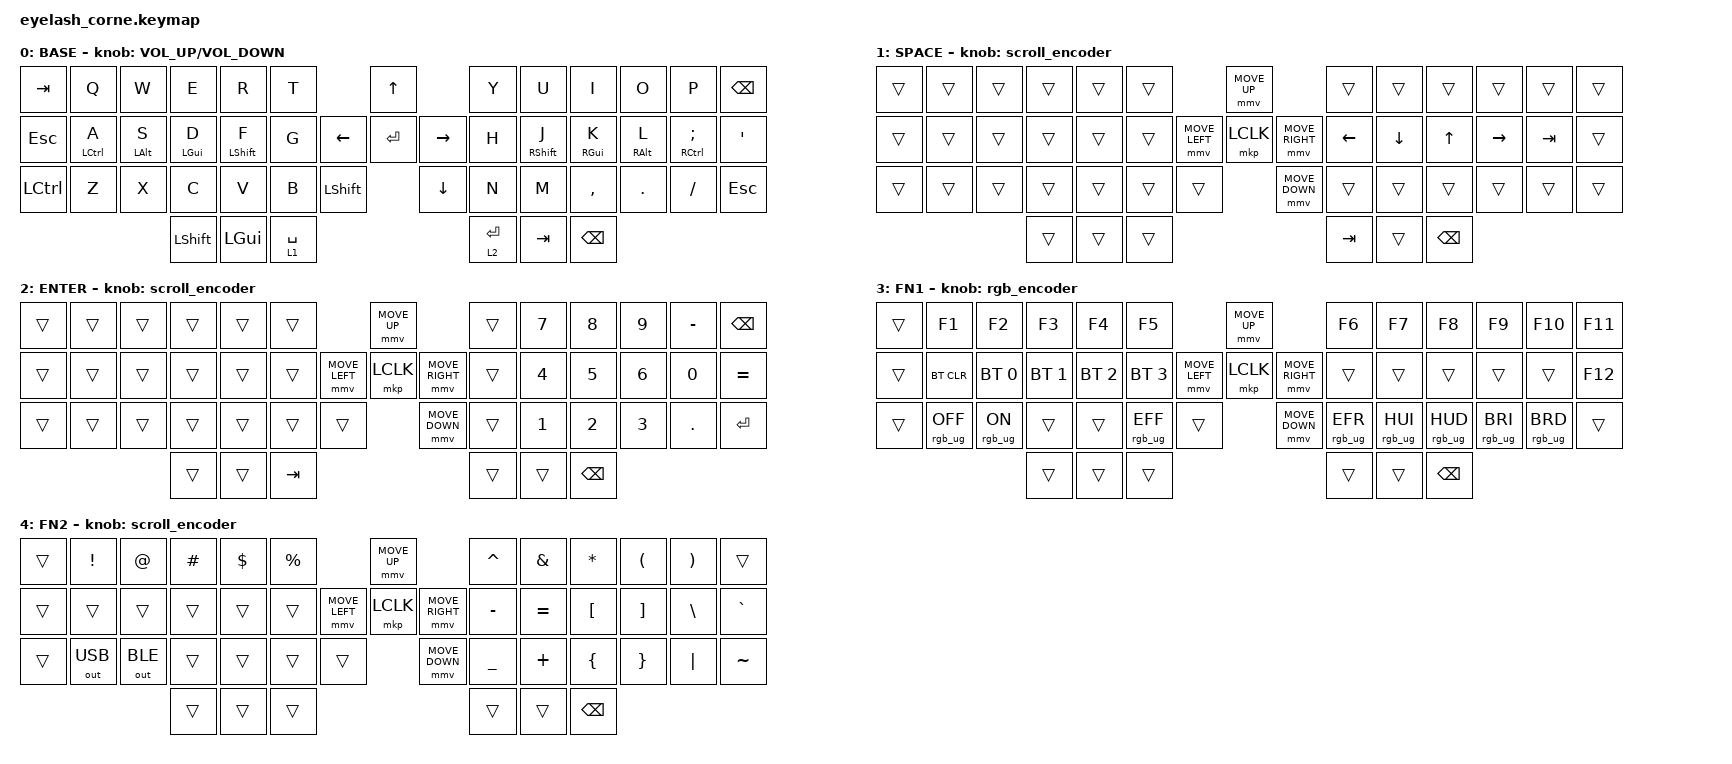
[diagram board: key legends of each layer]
#define ZMK_POINTING_DEFAULT_MOVE_VAL 1200  // 600
#define ZMK_POINTING_DEFAULT_SCRL_VAL 25   // 10

#include <input/processors.dtsi>
#include <zephyr/dt-bindings/input/input-event-codes.h>
#include <behaviors.dtsi>
#include <dt-bindings/zmk/bt.h>
#include <dt-bindings/zmk/ext_power.h>
#include <dt-bindings/zmk/keys.h>
#include <dt-bindings/zmk/outputs.h>
#include <dt-bindings/zmk/pointing.h>
#include <dt-bindings/zmk/rgb.h>

&mmv_input_listener { input-processors = <&zip_xy_scaler 2 1>; };

&msc_input_listener { input-processors = <&zip_scroll_scaler 2 1>; };

&msc {
    acceleration-exponent = <1>;      // 0
    time-to-max-speed-ms = <100>;       // 300
    delay-ms = <0>;                   // 0
};

&mmv {
    time-to-max-speed-ms = <500>;
    acceleration-exponent = <1>;
    trigger-period-ms = <16>;
};


/ {
    behaviors {
        // Eyelash Corne positions (48 total): row0=0-12, row1=13-27, row2=28-41, thumbs=42-47.
        // Left HRMs (a,s,d,f) only fire when paired with a RIGHT-hand finger key.
        // Right HRMs (j,k,l,;) only fire when paired with a LEFT-hand finger key.
        hrm_a: homerow_mod_left_ctrl_a {
            compatible = "zmk,behavior-hold-tap";
            #binding-cells = <2>;
            flavor = "balanced";
            tapping-term-ms = <220>;
            quick-tap-ms = <150>;
            require-prior-idle-ms = <100>;
            bindings = <&kp>, <&kp>;
            hold-trigger-key-positions = <7 8 9 10 11 12 22 23 24 25 26 27 36 37 38 39 40 41>;
            hold-trigger-on-release;
        };

        hrm_s: homerow_mod_left_alt_s {
            compatible = "zmk,behavior-hold-tap";
            #binding-cells = <2>;
            flavor = "balanced";
            tapping-term-ms = <210>;
            quick-tap-ms = <150>;
            require-prior-idle-ms = <100>;
            bindings = <&kp>, <&kp>;
            hold-trigger-key-positions = <7 8 9 10 11 12 22 23 24 25 26 27 36 37 38 39 40 41>;
            hold-trigger-on-release;
        };

        hrm_d: homerow_mod_left_gui_d {
            compatible = "zmk,behavior-hold-tap";
            #binding-cells = <2>;
            flavor = "balanced";
            tapping-term-ms = <200>;
            quick-tap-ms = <150>;
            require-prior-idle-ms = <100>;
            bindings = <&kp>, <&kp>;
            hold-trigger-key-positions = <7 8 9 10 11 12 22 23 24 25 26 27 36 37 38 39 40 41>;
            hold-trigger-on-release;
        };

        hrm_f: homerow_mod_left_shift_f {
            compatible = "zmk,behavior-hold-tap";
            #binding-cells = <2>;
            flavor = "balanced";
            tapping-term-ms = <180>;
            quick-tap-ms = <150>;
            require-prior-idle-ms = <100>;
            bindings = <&kp>, <&kp>;
            hold-trigger-key-positions = <7 8 9 10 11 12 22 23 24 25 26 27 36 37 38 39 40 41>;
            hold-trigger-on-release;
        };

        hrm_j: homerow_mod_right_shift_j {
            compatible = "zmk,behavior-hold-tap";
            #binding-cells = <2>;
            flavor = "balanced";
            tapping-term-ms = <180>;
            quick-tap-ms = <150>;
            require-prior-idle-ms = <100>;
            bindings = <&kp>, <&kp>;
            hold-trigger-key-positions = <0 1 2 3 4 5 13 14 15 16 17 18 28 29 30 31 32 33>;
            hold-trigger-on-release;
        };

        hrm_k: homerow_mod_right_gui_k {
            compatible = "zmk,behavior-hold-tap";
            #binding-cells = <2>;
            flavor = "balanced";
            tapping-term-ms = <200>;
            quick-tap-ms = <150>;
            require-prior-idle-ms = <100>;
            bindings = <&kp>, <&kp>;
            hold-trigger-key-positions = <0 1 2 3 4 5 13 14 15 16 17 18 28 29 30 31 32 33>;
            hold-trigger-on-release;
        };

        hrm_l: homerow_mod_right_alt_l {
            compatible = "zmk,behavior-hold-tap";
            #binding-cells = <2>;
            flavor = "balanced";
            tapping-term-ms = <210>;
            quick-tap-ms = <150>;
            require-prior-idle-ms = <100>;
            bindings = <&kp>, <&kp>;
            hold-trigger-key-positions = <0 1 2 3 4 5 13 14 15 16 17 18 28 29 30 31 32 33>;
            hold-trigger-on-release;
        };

        hrm_semi: homerow_mod_right_ctrl_semi {
            compatible = "zmk,behavior-hold-tap";
            #binding-cells = <2>;
            flavor = "balanced";
            tapping-term-ms = <220>;
            quick-tap-ms = <150>;
            require-prior-idle-ms = <100>;
            bindings = <&kp>, <&kp>;
            hold-trigger-key-positions = <0 1 2 3 4 5 13 14 15 16 17 18 28 29 30 31 32 33>;
            hold-trigger-on-release;
        };

        // Layer-tap behaviors for Space and Enter
        lt_spc: layer_tap_space {
            compatible = "zmk,behavior-hold-tap";
            #binding-cells = <2>;
            flavor = "balanced";
            tapping-term-ms = <150>;
            quick-tap-ms = <100>;
            bindings = <&mo>, <&kp>;
        };

        lt_ent: layer_tap_enter {
            compatible = "zmk,behavior-hold-tap";
            #binding-cells = <2>;
            flavor = "balanced";
            tapping-term-ms = <150>;
            quick-tap-ms = <100>;
            bindings = <&mo>, <&kp>;
        };
    };

    combos {
        compatible = "zmk,combos";
        combo_fn1 {
            timeout-ms = <50>;
            key-positions = <42 43>; // LSHFT + LGUI (left outer thumbs)
            bindings = <&mo 3>;
        };

        combo_fn2 {
            timeout-ms = <50>;
            key-positions = <46 47>; // TAB + BSPC (right outer thumbs)
            bindings = <&mo 4>;
        };
    };

    rgb_encoder: rgb_encoder {
        compatible = "zmk,behavior-sensor-rotate";
        #sensor-binding-cells = <0>;
        bindings = <&rgb_ug RGB_BRI>, <&rgb_ug RGB_BRD>;
    };

    scroll_encoder: scroll_encoder {
        compatible = "zmk,behavior-sensor-rotate";
        #sensor-binding-cells = <0>;
        bindings = <&msc SCRL_DOWN>, <&msc SCRL_UP>;
        tap-ms = <100>;
    };

    keymap {
        compatible = "zmk,keymap";

        default_layer {
            display-name = "BASE";
            bindings = <
&kp TAB    &kp Q  &kp W      &kp E     &kp R  &kp T                              &kp UP                &kp Y        &kp U  &kp I      &kp O    &kp P     &kp BSPC
&kp ESC    &hrm_a LCTRL A  &hrm_s LALT S  &hrm_d LGUI D  &hrm_f LSHFT F  &kp G   &kp LEFT  &kp ENTER  &kp RIGHT  &kp H   &hrm_j RSHFT J  &hrm_k RGUI K  &hrm_l RALT L  &hrm_semi RCTRL SEMI  &kp SQT
&kp LCTRL  &kp Z  &kp X      &kp C     &kp V  &kp B       &kp LSHFT              &kp DOWN              &kp N        &kp M  &kp COMMA  &kp DOT  &kp FSLH  &kp ESC
                             &kp LSHFT  &kp LGUI  &lt_spc 1 SPACE                                     &lt_ent 2 ENTER  &kp TAB  &kp BSPC
            >;
            sensor-bindings = <&inc_dec_kp C_VOLUME_UP C_VOLUME_DOWN>;
        };

        space_layer {
            display-name = "SPACE";
            bindings = <
&trans  &trans  &trans  &trans  &trans  &trans                                    &mmv MOVE_UP                     &trans  &trans  &trans  &trans  &trans  &trans
&trans  &trans  &trans  &trans  &trans  &trans                           &mmv MOVE_LEFT  &mkp LCLK       &mmv MOVE_RIGHT  &kp LEFT  &kp DOWN  &kp UP  &kp RIGHT  &kp TAB  &trans
&trans  &trans  &trans  &trans  &trans  &trans  &trans                             &mmv MOVE_DOWN                   &trans  &trans  &trans  &trans  &trans  &trans
                        &trans  &trans  &trans                                                                      &kp TAB  &trans  &kp BSPC
            >;
            sensor-bindings = <&scroll_encoder>;
        };

        enter_layer {
            display-name = "ENTER";
            bindings = <
&trans  &trans  &trans  &trans  &trans  &trans                                    &mmv MOVE_UP                     &trans  &kp N7  &kp N8  &kp N9  &kp MINUS  &kp BSPC
&trans  &trans  &trans  &trans  &trans  &trans                           &mmv MOVE_LEFT  &mkp LCLK       &mmv MOVE_RIGHT  &trans  &kp N4  &kp N5  &kp N6  &kp N0  &kp EQUAL
&trans  &trans  &trans  &trans  &trans  &trans  &trans                             &mmv MOVE_DOWN                   &trans  &kp N1  &kp N2  &kp N3  &kp DOT  &kp ENTER
                        &trans  &trans  &kp TAB                                                                     &trans  &trans  &kp BSPC
            >;
            sensor-bindings = <&scroll_encoder>;
        };

        fn1_layer {
            display-name = "FN1";
            bindings = <
&trans  &kp F1  &kp F2  &kp F3  &kp F4  &kp F5                                  &mmv MOVE_UP                     &kp F6  &kp F7  &kp F8  &kp F9  &kp F10  &kp F11
&trans  &bt BT_CLR  &bt BT_SEL 0  &bt BT_SEL 1  &bt BT_SEL 2  &bt BT_SEL 3     &mmv MOVE_LEFT  &mkp LCLK       &mmv MOVE_RIGHT  &trans  &trans  &trans  &trans  &trans  &kp F12
&trans  &rgb_ug RGB_OFF  &rgb_ug RGB_ON  &trans  &trans  &rgb_ug RGB_EFF  &trans                &mmv MOVE_DOWN                   &rgb_ug RGB_EFR  &rgb_ug RGB_HUI  &rgb_ug RGB_HUD  &rgb_ug RGB_BRI  &rgb_ug RGB_BRD  &trans
                  &trans  &trans  &trans                                                                                         &trans  &trans  &kp BSPC
            >;
            sensor-bindings = <&rgb_encoder>;
        };

        fn2_layer {
            display-name = "FN2";
            bindings = <
&trans  &kp EXCL  &kp AT  &kp HASH  &kp DLLR  &kp PRCNT                           &mmv MOVE_UP                     &kp CARET  &kp AMPS  &kp ASTRK  &kp LPAR  &kp RPAR  &trans
&trans  &trans  &trans  &trans  &trans  &trans                            &mmv MOVE_LEFT  &mkp LCLK       &mmv MOVE_RIGHT  &kp MINUS  &kp EQUAL  &kp LBKT  &kp RBKT  &kp BSLH  &kp GRAVE
&trans  &out OUT_USB  &out OUT_BLE  &trans  &trans  &trans  &trans                        &mmv MOVE_DOWN                   &kp UNDER  &kp PLUS  &kp LBRC  &kp RBRC  &kp PIPE  &kp TILDE
                      &trans  &trans  &trans                                                                                &trans  &trans  &kp BSPC
            >;
            sensor-bindings = <&scroll_encoder>;
        };
    };
};
